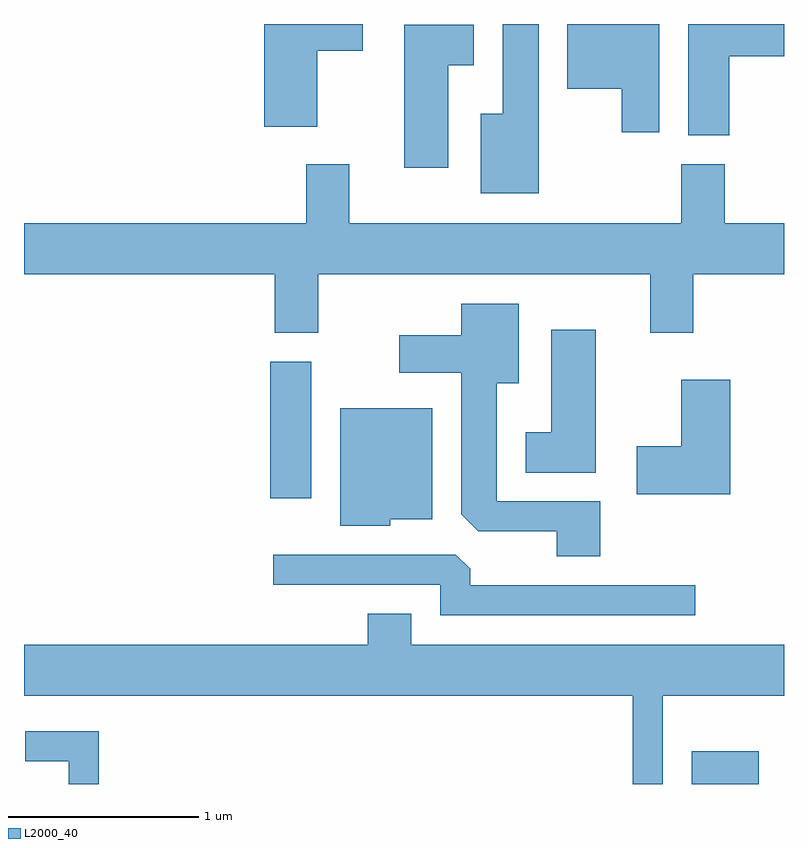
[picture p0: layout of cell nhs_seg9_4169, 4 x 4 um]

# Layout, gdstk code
import gdstk
lib = gdstk.Library(unit=1e-6, precision=1e-09)
def R(c, l, rs):  # rectangles x0, y0, x1, y1
    for r in rs: c.add(gdstk.rectangle(r[:2], r[2:], *l))
def P(c, l, *ps):  # polygons
    for p in ps: c.add(gdstk.Polygon(p, *l))
L2000_40 = (2000, 40)

nhs_seg9_4169 = lib.new_cell('nhs_seg9_4169')
R(nhs_seg9_4169, L2000_40, [(311.126,2022.432,311.479,2022.604), (308.906,2023.936,309.124,2024.654)])
P(nhs_seg9_4169, L2000_40, [(310.954,2026.432),(310.471,2026.432),(310.471,2026.091),(310.756,2026.091),(310.756,2025.861),(310.954,2025.861)],
  [(310.319,2026.432),(310.131,2026.432),(310.131,2025.959),(310.016,2025.959),(310.016,2025.541),(310.319,2025.541)],
  [(311.324,2026.261),(311.611,2026.261),(311.611,2026.432),(311.106,2026.432),(311.106,2025.846),(311.324,2025.846)],
  [(309.154,2026.291),(309.394,2026.291),(309.394,2026.432),(308.876,2026.432),(308.876,2025.891),(309.154,2025.891)],
  [(309.844,2026.216),(309.979,2026.216),(309.979,2026.429),(309.611,2026.429),(309.611,2025.676),(309.844,2025.676)],
  [(309.159,2025.116),(310.906,2025.116),(310.906,2024.806),(311.134,2024.806),(311.134,2025.116),(311.611,2025.116),(311.611,2025.384),(311.299,2025.384),(311.299,2025.694),(311.071,2025.694),(311.071,2025.384),(309.324,2025.384),(309.324,2025.694),(309.096,2025.694),(309.096,2025.384),(307.611,2025.384),(307.611,2025.116),(308.931,2025.116),(308.931,2024.806),(309.159,2024.806)],
  [(310.644,2023.919),(310.099,2023.919),(310.099,2024.541),(310.214,2024.541),(310.214,2024.959),(309.911,2024.959),(309.911,2024.794),(309.586,2024.794),(309.586,2024.596),(309.911,2024.596),(309.911,2023.852),(310.002,2023.761),(310.416,2023.761),(310.416,2023.631),(310.644,2023.631)],
  [(310.619,2024.824),(310.386,2024.824),(310.386,2024.284),(310.251,2024.284),(310.251,2024.071),(310.619,2024.071)],
  [(311.329,2024.559),(311.071,2024.559),(311.071,2024.209),(310.836,2024.209),(310.836,2023.956),(311.329,2023.956)],
  [(309.539,2023.826),(309.759,2023.826),(309.759,2024.409),(309.276,2024.409),(309.276,2023.791),(309.539,2023.791)],
  [(311.143,2023.479),(309.959,2023.479),(309.959,2023.564),(309.884,2023.639),(308.923,2023.639),(308.923,2023.481),(309.801,2023.481),(309.801,2023.321),(311.143,2023.321)],
  [(310.974,2022.896),(311.611,2022.896),(311.611,2023.164),(309.649,2023.164),(309.649,2023.329),(309.421,2023.329),(309.421,2023.164),(307.611,2023.164),(307.611,2022.896),(310.816,2022.896),(310.816,2022.432),(310.974,2022.432)],
  [(308.004,2022.709),(307.618,2022.709),(307.618,2022.551),(307.846,2022.551),(307.846,2022.432),(308.004,2022.432)])

lib.write_gds('nhs_seg9_4169.gds')
